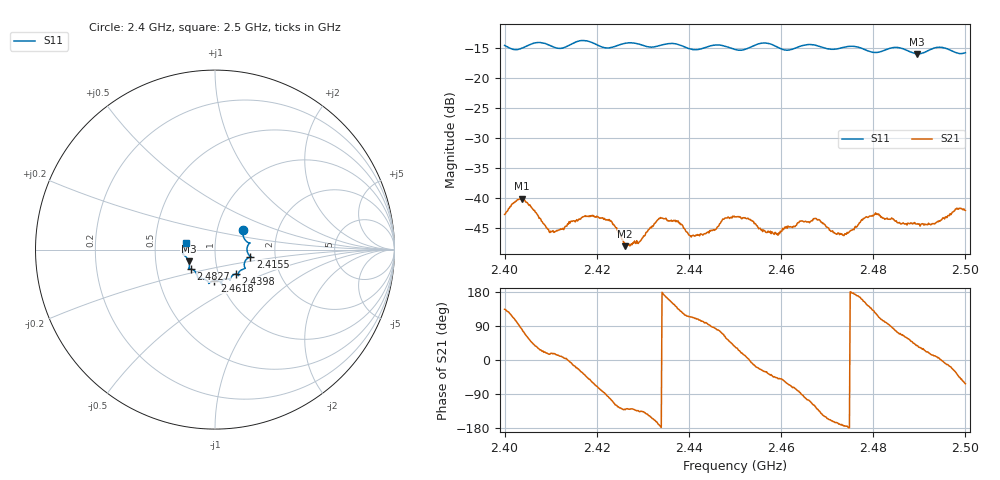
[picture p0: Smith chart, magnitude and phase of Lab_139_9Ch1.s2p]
# Hz S RI R 50
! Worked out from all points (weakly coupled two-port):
!   601 points, 2.4 GHz to 2.5 GHz, reference 50 ohm
!   highest |S21| = -40.04 dB at 2.4038 GHz (marker M1); lowest = -47.9 dB at 2.4262 GHz (marker M2)
!   lowest |S11| = -15.9 dB at 2.4895 GHz (marker M3), VSWR 1.38, Z = 37 - j5 ohm
!   |S11| at or under -10 dB: start of sweep to end of sweep
!   S12 and S22 are empty: the file has one direction only
!   S11 on the Smith chart (normalised r, x): 2.4 GHz: 1.33, +0.29; 2.4155 GHz: 1.49, -0.12; 2.4398 GHz: 1.21, -0.34; 2.4618 GHz: 0.94, -0.33; 2.4827 GHz: 0.75, -0.17; 2.5 GHz: 0.72, +0.06
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2.4e9  0.1553 0.1068  -0.0051 0.00532  0 0  0 0
2.403833e9  0.1725 0.0484  0.00186 0.00977  0 0  0 0
2.410167e9  0.1842 0.0251  0.00504 0.0016  0 0  0 0
2.4155e9  0.1977 -0.0396  0.00613 -0.00228  0 0  0 0
2.416667e9  0.2025 -0.0429  0.0059 -0.00359  0 0  0 0
2.422833e9  0.1641 -0.0745  -0.00126 -0.00637  0 0  0 0
2.426167e9  0.1678 -0.1021  -0.00264 -0.00301  0 0  0 0
2.429333e9  0.1593 -0.1075  -0.00317 -0.00301  0 0  0 0
2.433333e9  0.1296 -0.1342  -0.00656 -0.00124  0 0  0 0
2.4375e9  0.1303 -0.142  -0.00462 0.00443  0 0  0 0
2.439833e9  0.1152 -0.1359  -0.0022 0.00456  0 0  0 0
2.4435e9  0.0862 -0.1592  -0.000702 0.00503  0 0  0 0
2.45e9  0.065 -0.1619  0.00573 0.00403  0 0  0 0
2.458833e9  0.0325 -0.1825  0.00358 -0.00375  0 0  0 0
2.461833e9  -0.00308 -0.1729  0.00238 -0.00528  0 0  0 0
2.466667e9  -0.0346 -0.1882  -0.00269 -0.00598  0 0  0 0
2.473167e9  -0.0823 -0.1603  -0.005 -0.000881  0 0  0 0
2.478667e9  -0.1017 -0.1371  -0.00574 0.00398  0 0  0 0
2.482667e9  -0.135 -0.1087  -0.00114 0.00669  0 0  0 0
2.483333e9  -0.1399 -0.1083  -0.000455 0.0067  0 0  0 0
2.4895e9  -0.1462 -0.0659  0.0048 0.0038  0 0  0 0
2.5e9  -0.1591 0.039  0.00365 -0.00705  0 0  0 0
